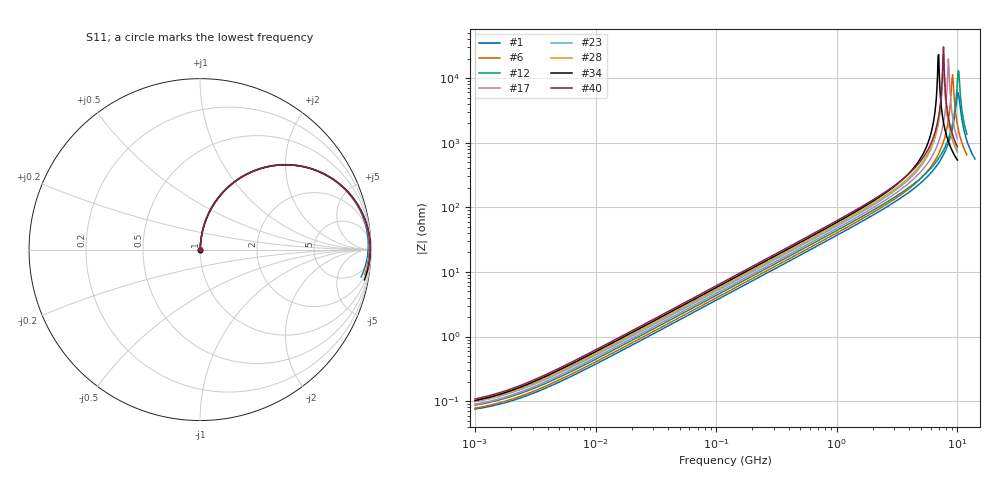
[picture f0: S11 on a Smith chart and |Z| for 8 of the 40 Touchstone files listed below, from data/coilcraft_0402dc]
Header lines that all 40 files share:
# MHz  S  MA  R  50
!Freq  MagS11  AngS11  MagS21  AngS21  MagS12  AngS12  MagS22  AngS22
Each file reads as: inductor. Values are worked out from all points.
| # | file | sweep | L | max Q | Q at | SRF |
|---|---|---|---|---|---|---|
| 1 | 0402DC-5N8.s2p | 1 MHz to 14 GHz | 5.8 nH | 145 | 2.304 GHz | 10.14 GHz |
| 2 | 0402DC-5N9.s2p | 1 MHz to 14 GHz | 5.9 nH | 143 | 2.223 GHz | 10.14 GHz |
| 3 | 0402DC-6N0.s2p | 1 MHz to 14 GHz | 6 nH | 147 | 2.119 GHz | 10.26 GHz |
| 4 | 0402DC-6N1.s2p | 1 MHz to 14 GHz | 6.1 nH | 136 | 2.277 GHz | 9.105 GHz |
| 5 | 0402DC-6N2.s2p | 1 MHz to 14 GHz | 6.2 nH | 140 | 2.476 GHz | 9.325 GHz |
| 6 | 0402DC-6N3.s2p | 1 MHz to 12 GHz | 6.3 nH | 146 | 2.476 GHz | 9.016 GHz |
| 7 | 0402DC-6N4.s2p | 1 MHz to 12 GHz | 6.4 nH | 136 | 2.595 GHz | 8.602 GHz |
| 8 | 0402DC-6N5.s2p | 1 MHz to 12 GHz | 6.5 nH | 145 | 2.564 GHz | 7.649 GHz |
| 9 | 0402DC-6N6.s2p | 1 MHz to 12 GHz | 6.6 nH | 132 | 2.817 GHz | 11.14 GHz |
| 10 | 0402DC-6N7.s2p | 1 MHz to 12 GHz | 6.7 nH | 131 | 2.656 GHz | 11.01 GHz |
| 11 | 0402DC-6N8.s2p | 1 MHz to 12 GHz | 6.8 nH | 135 | 2.656 GHz | 9.789 GHz |
| 12 | 0402DC-6N9.s2p | 1 MHz to 12 GHz | 6.9 nH | 141 | 2.784 GHz | 10.14 GHz |
| 13 | 0402DC-7N0.s2p | 1 MHz to 12 GHz | 7 nH | 139 | 2.918 GHz | 10.14 GHz |
| 14 | 0402DC-7N1.s2p | 1 MHz to 12 GHz | 7.1 nH | 137 | 2.656 GHz | 9.789 GHz |
| 15 | 0402DC-7N2.s2p | 1 MHz to 10 GHz | 7.2 nH | 135 | 2.513 GHz | 8.418 GHz |
| 16 | 0402DC-7N3.s2p | 1 MHz to 10 GHz | 7.3 nH | 131 | 2.292 GHz | 8.418 GHz |
| 17 | 0402DC-7N4.s2p | 1 MHz to 10 GHz | 7.4 nH | 137 | 2.662 GHz | 8.418 GHz |
| 18 | 0402DC-7N5.s2p | 1 MHz to 10 GHz | 7.5 nH | 140 | 2.755 GHz | 8.418 GHz |
| 19 | 0402DC-7N6.s2p | 1 MHz to 10 GHz | 7.6 nH | 140 | 2.571 GHz | 8.418 GHz |
| 20 | 0402DC-7N7.s2p | 1 MHz to 10 GHz | 7.7 nH | 136 | 2.819 GHz | 8.418 GHz |
| 21 | 0402DC-7N8.s2p | 1 MHz to 10 GHz | 7.8 nH | 135 | 2.601 GHz | 8.418 GHz |
| 22 | 0402DC-7N9.s2p | 1 MHz to 10 GHz | 7.9 nH | 135 | 2.631 GHz | 8.418 GHz |
| 23 | 0402DC-8N0.s2p | 1 MHz to 10 GHz | 8 nH | 135 | 2.484 GHz | 7.589 GHz |
| 24 | 0402DC-8N1.s2p | 1 MHz to 10 GHz | 8.1 nH | 134 | 2.631 GHz | 8.418 GHz |
| 25 | 0402DC-8N2.s2p | 1 MHz to 10 GHz | 8.2 nH | 139 | 2.631 GHz | 8.418 GHz |
| 26 | 0402DC-8N3.s2p | 1 MHz to 10 GHz | 8.3 nH | 136 | 2.631 GHz | 8.418 GHz |
| 27 | 0402DC-8N4.s2p | 1 MHz to 10 GHz | 8.4 nH | 139 | 2.542 GHz | 7.589 GHz |
| 28 | 0402DC-8N5.s2p | 1 MHz to 10 GHz | 8.5 nH | 138 | 2.484 GHz | 7.589 GHz |
| 29 | 0402DC-8N6.s2p | 1 MHz to 10 GHz | 8.6 nH | 140 | 2.571 GHz | 7.589 GHz |
| 30 | 0402DC-8N7.s2p | 1 MHz to 10 GHz | 8.7 nH | 140 | 2.542 GHz | 7.589 GHz |
| 31 | 0402DC-8N8.s2p | 1 MHz to 10 GHz | 8.8 nH | 144 | 2.819 GHz | 7.589 GHz |
| 32 | 0402DC-8N9.s2p | 1 MHz to 10 GHz | 8.9 nH | 139 | 2.484 GHz | 7.589 GHz |
| 33 | 0402DC-9N0.s2p | 1 MHz to 10 GHz | 9 nH | 142 | 2.601 GHz | 7.589 GHz |
| 34 | 0402DC-9N1.s2p | 1 MHz to 10 GHz | 9.1 nH | 140 | 2.372 GHz | 6.921 GHz |
| 35 | 0402DC-9N2.s2p | 1 MHz to 10 GHz | 9.2 nH | 140 | 2.372 GHz | 6.921 GHz |
| 36 | 0402DC-9N3.s2p | 1 MHz to 10 GHz | 9.3 nH | 132 | 2.542 GHz | 8.418 GHz |
| 37 | 0402DC-9N4.s2p | 1 MHz to 10 GHz | 9.4 nH | 133 | 2.24 GHz | 7.589 GHz |
| 38 | 0402DC-9N5.s2p | 1 MHz to 10 GHz | 9.5 nH | 144 | 2.631 GHz | 8.418 GHz |
| 39 | 0402DC-9N6.s2p | 1 MHz to 10 GHz | 9.6 nH | 141 | 2.427 GHz | 7.589 GHz |
| 40 | 0402DC-9N7.s2p | 1 MHz to 10 GHz | 9.7 nH | 144 | 2.542 GHz | 7.589 GHz |
